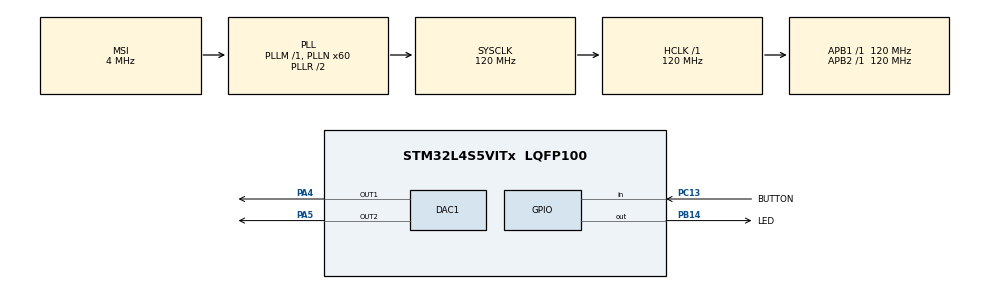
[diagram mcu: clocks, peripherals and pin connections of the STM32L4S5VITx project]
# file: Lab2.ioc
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ADC1.Channel-0\#ChannelRegularConversion=ADC_CHANNEL_VREFINT
ADC1.DiscontinuousConvMode=DISABLE
ADC1.EnableInjectedConversion=ENABLE
ADC1.InjMonitoredBy-2\#ChannelInjectedConversion=__NULL
ADC1.InjNumberOfConversion=1
ADC1.InjectedChannel-2\#ChannelInjectedConversion=ADC_CHANNEL_TEMPSENSOR
ADC1.InjectedOffsetNumber-2\#ChannelInjectedConversion=ADC_OFFSET_NONE
ADC1.InjectedRank-2\#ChannelInjectedConversion=1
ADC1.InjectedSamplingTime-2\#ChannelInjectedConversion=ADC_SAMPLETIME_247CYCLES_5
ADC1.NbrOfConversion=1
ADC1.NbrOfConversionFlag=1
ADC1.OffsetNumber-0\#ChannelRegularConversion=ADC_OFFSET_NONE
ADC1.Rank-0\#ChannelRegularConversion=1
ADC1.Rank1_Channel=ADC_CHANNEL_TEMPSENSOR
ADC1.SamplingTime-0\#ChannelRegularConversion=ADC_SAMPLETIME_247CYCLES_5
ADC1.master=1
DAC1.DAC_Channel-DAC_OUT2=DAC_CHANNEL_2
Mcu.Family=STM32L4
Mcu.Name=STM32L4S5VITx
Mcu.Package=LQFP100
NVIC.PriorityGroup=NVIC_PRIORITYGROUP_4
PA13\ (JTMS/SWDIO).Signal=SYS_JTMS-SWDIO
PA4.Signal=COMP_DAC11_group
PA5.Signal=COMP_DAC12_group
PB14.GPIO_Label=LED
PB14.Signal=GPIO_Output
PB3\ (JTDO/TRACESWO).Signal=SYS_JTDO-SWO
PC13.GPIO_Label=BUTTON
PC13.Signal=GPIO_Input
ProjectManager.HeapSize=0x200
ProjectManager.StackSize=0x400
ProjectManager.TargetToolchain=STM32CubeIDE
RCC.ADCFreq_Value=48000000
RCC.AHBFreq_Value=120000000
RCC.APB1Freq_Value=120000000
RCC.APB1TimFreq_Value=120000000
RCC.APB2Freq_Value=120000000
RCC.APB2TimFreq_Value=120000000
RCC.CortexFreq_Value=120000000
RCC.HCLKFreq_Value=120000000
RCC.HSE_VALUE=8000000
RCC.HSI48_VALUE=48000000
RCC.HSI_VALUE=16000000
RCC.LSE_VALUE=32768
RCC.MSI_VALUE=4000000
RCC.PLLN=60
RCC.PLLSAI1N=24
RCC.SYSCLKFreq_VALUE=120000000
RCC.SYSCLKSource=RCC_SYSCLKSOURCE_PLLCLK
RCC.USBFreq_Value=48000000
RCC.VCOOutputFreq_Value=240000000
SH.COMP_DAC11_group.0=DAC1_OUT1,DAC_OUT1
SH.COMP_DAC12_group.0=DAC1_OUT2,DAC_OUT2
VP_ADC1_TempSens_Input.Mode=IN-TempSens
VP_ADC1_Vref_Input.Mode=IN-Vrefint
board=B-L4S5I-IOT01A

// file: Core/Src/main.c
/* USER CODE BEGIN Header */
/**
  ******************************************************************************
  * @file           : main.c
  * @brief          : Main program body
  ******************************************************************************
  * @attention
  *
  * Copyright (c) 2026 STMicroelectronics.
  * All rights reserved.
  *
  * This software is licensed under terms that can be found in the LICENSE file
  * in the root directory of this software component.
  * If no LICENSE file comes with this software, it is provided AS-IS.
  *
  ******************************************************************************
  */
/* USER CODE END Header */
#include "main.h"

/* USER CODE BEGIN Includes */
#include <stdint.h>
#include "stm32l4xx_hal_adc_ex.h"
#include "arm_math.h"

/* USER CODE END Includes */

/* USER CODE BEGIN PTD */
typedef enum { MODE_FIXED = 0, MODE_TEMP = 1 } mode_t;
typedef enum { W_TRI = 0, W_SAW = 1, W_SINE = 2 } wave_t;
/* USER CODE END PTD */

/* USER CODE BEGIN PD */
#define N_SAMPLES  64u
#define SAMPLE_US  8u
#define PI_F       3.14159265358979323846f
/* USER CODE END PD */

ADC_HandleTypeDef hadc1;

DAC_HandleTypeDef hdac1;

/* USER CODE BEGIN PV */
__attribute__((aligned(4))) volatile uint32_t triangle = 0;
__attribute__((aligned(4))) volatile uint32_t saw      = 0;
__attribute__((aligned(4))) volatile uint32_t sine = 0;

__attribute__((aligned(4))) volatile uint32_t adc_vref_raw = 0;
__attribute__((aligned(4))) volatile uint32_t adc_vts_raw  = 0;
__attribute__((aligned(4))) volatile uint32_t vref_mV      = 0;
__attribute__((aligned(4))) volatile int32_t  temp_C       = 0;

__attribute__((aligned(4))) volatile uint32_t dac_out   = 0;
__attribute__((aligned(4))) volatile mode_t   mode      = MODE_FIXED;
__attribute__((aligned(4))) volatile wave_t   fixed_wave= W_TRI;

static uint16_t sine_lut[N_SAMPLES];
/* USER CODE END PV */

void SystemClock_Config(void);
static void MX_GPIO_Init(void);
static void MX_DAC1_Init(void);
static void MX_ADC1_Init(void);
/* USER CODE BEGIN PFP */
static void DWT_Init(void);
static void DWT_Delay_us(uint32_t us);
static uint16_t tri_from_phase(uint32_t phase, uint32_t n_samples);
static void     BuildSineLUT(void);
static uint16_t sample_from_wave(wave_t w, uint32_t phase);

static uint32_t ADC1_ReadVrefint_Regular(void);
static uint32_t ADC1_ReadTemp_Injected(void);

static void HandleButton(void);
/* USER CODE END PFP */

int main(void)
{

  /* MCU Configuration--------------------------------------------------------*/

  /* Reset of all peripherals, Initializes the Flash interface and the Systick. */
  HAL_Init();

  /* Configure the system clock */
  SystemClock_Config();

  /* Initialize all configured peripherals */
  MX_GPIO_Init();
  MX_DAC1_Init();
  MX_ADC1_Init();
  /* USER CODE BEGIN 2 */
  DWT_Init();
  BuildSineLUT();

    /* Start DAC channels */
    HAL_DAC_Start(&hdac1, DAC_CHANNEL_1);
    //HAL_DAC_Start(&hdac1, DAC_CHANNEL_2); /*For part 2 */

    /* Calibrate ADC once */
    if (HAL_ADCEx_Calibration_Start(&hadc1, ADC_SINGLE_ENDED) != HAL_OK)
    {
      Error_Handler();
    }

    /* Small settle time for internal channels */
    HAL_Delay(10);

    /* Waveform timing */
    uint32_t phase = 0;

    /* read ADC every 200ms without blocking the DAC loop */
    uint32_t last_adc_ms = HAL_GetTick();
  /* USER CODE END 2 */

  /* Infinite loop */
  while (1)
  {

    /* USER CODE BEGIN 3 */
	  HandleButton();

	  /* poll Vrefint + Temp every ~200ms */
	  uint32_t now = HAL_GetTick();
	  if ((now - last_adc_ms) >= 200u)
	  {
	    last_adc_ms = now;

	    adc_vref_raw = ADC1_ReadVrefint_Regular();
	    adc_vts_raw  = ADC1_ReadTemp_Injected();

	    vref_mV = __HAL_ADC_CALC_VREFANALOG_VOLTAGE(adc_vref_raw, ADC_RESOLUTION_12B);
	    temp_C  = (int32_t)__HAL_ADC_CALC_TEMPERATURE(vref_mV, adc_vts_raw, ADC_RESOLUTION_12B);
	  }

	  triangle = tri_from_phase(phase, N_SAMPLES);
	  saw      = (phase * 4095u) / (N_SAMPLES - 1u);
	  sine     = sine_lut[phase];

	  /* DAC output selection */
	  wave_t w = (mode == MODE_FIXED) ? fixed_wave : W_SINE;

	  /* Temperature-dependent pitch:
	     phase_step increases with temp => higher frequency */
	  uint32_t phase_step = 1u;
	  if (mode == MODE_TEMP)
	  {
	    int32_t tC = temp_C;
	    if (tC < 0)  tC = 0;
	    if (tC > 60) tC = 60;
	    phase_step = 1u + (uint32_t)(tC / 15);   // 1..5
	  }

	  dac_out = sample_from_wave(w, phase);

	  /* Send output to DAC */
	  HAL_DAC_SetValue(&hdac1, DAC_CHANNEL_1, DAC_ALIGN_12B_R, dac_out);
	  HAL_DAC_SetValue(&hdac1, DAC_CHANNEL_2, DAC_ALIGN_12B_R, saw);

	  phase = (phase + phase_step) % N_SAMPLES;
	  DWT_Delay_us(SAMPLE_US);

  }
  /* USER CODE END 3 */
}

void SystemClock_Config(void)
{
  RCC_OscInitTypeDef RCC_OscInitStruct = {0};
  RCC_ClkInitTypeDef RCC_ClkInitStruct = {0};

  /** Configure the main internal regulator output voltage
  */
  if (HAL_PWREx_ControlVoltageScaling(PWR_REGULATOR_VOLTAGE_SCALE1_BOOST) != HAL_OK)
  {
    Error_Handler();
  }

  /** Initializes the RCC Oscillators according to the specified parameters
  * in the RCC_OscInitTypeDef structure.
  */
  RCC_OscInitStruct.OscillatorType = RCC_OSCILLATORTYPE_MSI;
  RCC_OscInitStruct.MSIState = RCC_MSI_ON;
  RCC_OscInitStruct.MSICalibrationValue = 0;
  RCC_OscInitStruct.MSIClockRange = RCC_MSIRANGE_6;
  RCC_OscInitStruct.PLL.PLLState = RCC_PLL_ON;
  RCC_OscInitStruct.PLL.PLLSource = RCC_PLLSOURCE_MSI;
  RCC_OscInitStruct.PLL.PLLM = 1;
  RCC_OscInitStruct.PLL.PLLN = 60;
  RCC_OscInitStruct.PLL.PLLP = RCC_PLLP_DIV2;
  RCC_OscInitStruct.PLL.PLLQ = RCC_PLLQ_DIV2;
  RCC_OscInitStruct.PLL.PLLR = RCC_PLLR_DIV2;
  if (HAL_RCC_OscConfig(&RCC_OscInitStruct) != HAL_OK)
  {
    Error_Handler();
  }

  /** Initializes the CPU, AHB and APB buses clocks
  */
  RCC_ClkInitStruct.ClockType = RCC_CLOCKTYPE_HCLK|RCC_CLOCKTYPE_SYSCLK
                              |RCC_CLOCKTYPE_PCLK1|RCC_CLOCKTYPE_PCLK2;
  RCC_ClkInitStruct.SYSCLKSource = RCC_SYSCLKSOURCE_PLLCLK;
  RCC_ClkInitStruct.AHBCLKDivider = RCC_SYSCLK_DIV1;
  RCC_ClkInitStruct.APB1CLKDivider = RCC_HCLK_DIV1;
  RCC_ClkInitStruct.APB2CLKDivider = RCC_HCLK_DIV1;

  if (HAL_RCC_ClockConfig(&RCC_ClkInitStruct, FLASH_LATENCY_5) != HAL_OK)
  {
    Error_Handler();
  }
}

static void MX_ADC1_Init(void)
{

  ADC_ChannelConfTypeDef sConfig = {0};
  ADC_InjectionConfTypeDef sConfigInjected = {0};

  /** Common config
  */
  hadc1.Instance = ADC1;
  hadc1.Init.ClockPrescaler = ADC_CLOCK_ASYNC_DIV1;
  hadc1.Init.Resolution = ADC_RESOLUTION_12B;
  hadc1.Init.DataAlign = ADC_DATAALIGN_RIGHT;
  hadc1.Init.ScanConvMode = ADC_SCAN_DISABLE;
  hadc1.Init.EOCSelection = ADC_EOC_SINGLE_CONV;
  hadc1.Init.LowPowerAutoWait = DISABLE;
  hadc1.Init.ContinuousConvMode = DISABLE;
  hadc1.Init.NbrOfConversion = 1;
  hadc1.Init.DiscontinuousConvMode = DISABLE;
  hadc1.Init.ExternalTrigConv = ADC_SOFTWARE_START;
  hadc1.Init.ExternalTrigConvEdge = ADC_EXTERNALTRIGCONVEDGE_NONE;
  hadc1.Init.DMAContinuousRequests = DISABLE;
  hadc1.Init.Overrun = ADC_OVR_DATA_PRESERVED;
  hadc1.Init.OversamplingMode = DISABLE;
  if (HAL_ADC_Init(&hadc1) != HAL_OK)
  {
    Error_Handler();
  }

  /** Disable Injected Queue
  */
  HAL_ADCEx_DisableInjectedQueue(&hadc1);

  /** Configure Regular Channel
  */
  sConfig.Channel = ADC_CHANNEL_VREFINT;
  sConfig.Rank = ADC_REGULAR_RANK_1;
  sConfig.SamplingTime = ADC_SAMPLETIME_247CYCLES_5;
  sConfig.SingleDiff = ADC_SINGLE_ENDED;
  sConfig.OffsetNumber = ADC_OFFSET_NONE;
  sConfig.Offset = 0;
  if (HAL_ADC_ConfigChannel(&hadc1, &sConfig) != HAL_OK)
  {
    Error_Handler();
  }

  /** Configure Injected Channel
  */
  sConfigInjected.InjectedChannel = ADC_CHANNEL_TEMPSENSOR;
  sConfigInjected.InjectedRank = ADC_INJECTED_RANK_1;
  sConfigInjected.InjectedSamplingTime = ADC_SAMPLETIME_247CYCLES_5;
  sConfigInjected.InjectedSingleDiff = ADC_SINGLE_ENDED;
  sConfigInjected.InjectedOffsetNumber = ADC_OFFSET_NONE;
  sConfigInjected.InjectedOffset = 0;
  sConfigInjected.InjectedNbrOfConversion = 1;
  sConfigInjected.InjectedDiscontinuousConvMode = DISABLE;
  sConfigInjected.AutoInjectedConv = DISABLE;
  sConfigInjected.QueueInjectedContext = DISABLE;
  sConfigInjected.ExternalTrigInjecConv = ADC_INJECTED_SOFTWARE_START;
  sConfigInjected.ExternalTrigInjecConvEdge = ADC_EXTERNALTRIGINJECCONV_EDGE_NONE;
  sConfigInjected.InjecOversamplingMode = DISABLE;
  if (HAL_ADCEx_InjectedConfigChannel(&hadc1, &sConfigInjected) != HAL_OK)
  {
    Error_Handler();
  }

}

static void MX_DAC1_Init(void)
{

  DAC_ChannelConfTypeDef sConfig = {0};

  /** DAC Initialization
  */
  hdac1.Instance = DAC1;
  if (HAL_DAC_Init(&hdac1) != HAL_OK)
  {
    Error_Handler();
  }

  /** DAC channel OUT1 config
  */
  sConfig.DAC_SampleAndHold = DAC_SAMPLEANDHOLD_DISABLE;
  sConfig.DAC_Trigger = DAC_TRIGGER_NONE;
  sConfig.DAC_HighFrequency = DAC_HIGH_FREQUENCY_INTERFACE_MODE_ABOVE_80MHZ;
  sConfig.DAC_OutputBuffer = DAC_OUTPUTBUFFER_ENABLE;
  sConfig.DAC_ConnectOnChipPeripheral = DAC_CHIPCONNECT_DISABLE;
  sConfig.DAC_UserTrimming = DAC_TRIMMING_FACTORY;
  if (HAL_DAC_ConfigChannel(&hdac1, &sConfig, DAC_CHANNEL_1) != HAL_OK)
  {
    Error_Handler();
  }

  /** DAC channel OUT2 config
  */
  if (HAL_DAC_ConfigChannel(&hdac1, &sConfig, DAC_CHANNEL_2) != HAL_OK)
  {
    Error_Handler();
  }

}

static void MX_GPIO_Init(void)
{
  GPIO_InitTypeDef GPIO_InitStruct = {0};

  /* GPIO Ports Clock Enable */
  __HAL_RCC_GPIOC_CLK_ENABLE();
  __HAL_RCC_GPIOA_CLK_ENABLE();
  __HAL_RCC_GPIOB_CLK_ENABLE();

  /*Configure GPIO pin Output Level */
  HAL_GPIO_WritePin(LED_GPIO_Port, LED_Pin, GPIO_PIN_RESET);

  /*Configure GPIO pin : BUTTON_Pin */
  GPIO_InitStruct.Pin = BUTTON_Pin;
  GPIO_InitStruct.Mode = GPIO_MODE_INPUT;
  GPIO_InitStruct.Pull = GPIO_NOPULL;
  HAL_GPIO_Init(BUTTON_GPIO_Port, &GPIO_InitStruct);

  /*Configure GPIO pin : LED_Pin */
  GPIO_InitStruct.Pin = LED_Pin;
  GPIO_InitStruct.Mode = GPIO_MODE_OUTPUT_PP;
  GPIO_InitStruct.Pull = GPIO_NOPULL;
  GPIO_InitStruct.Speed = GPIO_SPEED_FREQ_LOW;
  HAL_GPIO_Init(LED_GPIO_Port, &GPIO_InitStruct);

}

/* USER CODE BEGIN 4 */

static void BuildSineLUT(void)
{
  for (uint32_t i = 0; i < N_SAMPLES; i++)
  {
    float theta = (2.0f * PI_F * (float)i) / (float)N_SAMPLES;  // 0..2pi
    float s = arm_sin_f32(theta);                               // -1..1
    float y = 0.5f * (s + 1.0f);                                // 0..1
    uint32_t v = (uint32_t)(y * 4095.0f + 0.5f);
    if (v > 4095u) v = 4095u;
    sine_lut[i] = (uint16_t)v;
  }
}

static uint16_t sample_from_wave(wave_t w, uint32_t phase)
{
  switch (w)
  {
    case W_TRI:  return tri_from_phase(phase, N_SAMPLES);
    case W_SAW:  return (uint16_t)((phase * 4095u) / (N_SAMPLES - 1u));
    default:     return sine_lut[phase];
  }
}

/* Polling + debounce + edge detect, pressed = GPIO_PIN_RESET. */
static void HandleButton(void)
{
  static GPIO_PinState last = GPIO_PIN_SET;
  static uint32_t last_ms = 0;

  GPIO_PinState now = HAL_GPIO_ReadPin(BUTTON_GPIO_Port, BUTTON_Pin);
  uint32_t t = HAL_GetTick();

  if ((last == GPIO_PIN_SET) && (now == GPIO_PIN_RESET) && ((t - last_ms) > 200u))
  {
    last_ms = t;

    if (mode == MODE_FIXED)
    {
      mode = MODE_TEMP;
      HAL_GPIO_WritePin(LED_GPIO_Port, LED_Pin, GPIO_PIN_SET);   // LED ON
    }
    else
    {
      mode = MODE_FIXED;
      HAL_GPIO_WritePin(LED_GPIO_Port, LED_Pin, GPIO_PIN_RESET); // LED OFF
      fixed_wave = (wave_t)((fixed_wave + 1u) % 3u);             // TRI->SAW->SINE
    }
  }

  last = now;
}

static uint32_t ADC1_ReadVrefint_Regular(void)
{
  if (HAL_ADC_Start(&hadc1) != HAL_OK) { Error_Handler(); }
  if (HAL_ADC_PollForConversion(&hadc1, 10) != HAL_OK) { Error_Handler(); }

  uint32_t val = HAL_ADC_GetValue(&hadc1);

  if (HAL_ADC_Stop(&hadc1) != HAL_OK) { Error_Handler(); }
  return val;
}

static uint32_t ADC1_ReadTemp_Injected(void)
{
  if (HAL_ADCEx_InjectedStart(&hadc1) != HAL_OK) { Error_Handler(); }
  if (HAL_ADCEx_InjectedPollForConversion(&hadc1, 10) != HAL_OK) { Error_Handler(); }

  uint32_t val = HAL_ADCEx_InjectedGetValue(&hadc1, ADC_INJECTED_RANK_1);

  if (HAL_ADCEx_InjectedStop(&hadc1) != HAL_OK) { Error_Handler(); }
  return val;
}

static uint16_t tri_from_phase(uint32_t phase, uint32_t n_samples)
{
  const uint32_t half = n_samples / 2u;
  uint32_t val;

  if (phase < half)
  {
    val = (phase * 4095u) / (half - 1u);
  }
  else
  {
    val = ((n_samples - 1u - phase) * 4095u) / (half - 1u);
  }
  return (uint16_t)val;
}

/* Enable cycle counter for accurate microsecond delays */
static void DWT_Init(void)
{
  CoreDebug->DEMCR |= CoreDebug_DEMCR_TRCENA_Msk;
  DWT->CYCCNT = 0;
  DWT->CTRL |= DWT_CTRL_CYCCNTENA_Msk;
}

static void DWT_Delay_us(uint32_t us)
{
  uint32_t cycles = (HAL_RCC_GetHCLKFreq() / 1000000u) * us;
  uint32_t start = DWT->CYCCNT;
  while ((DWT->CYCCNT - start) < cycles) { __NOP(); }
}
/* USER CODE END 4 */

void Error_Handler(void)
{
  __disable_irq();
  while (1)
  {
  }
}
